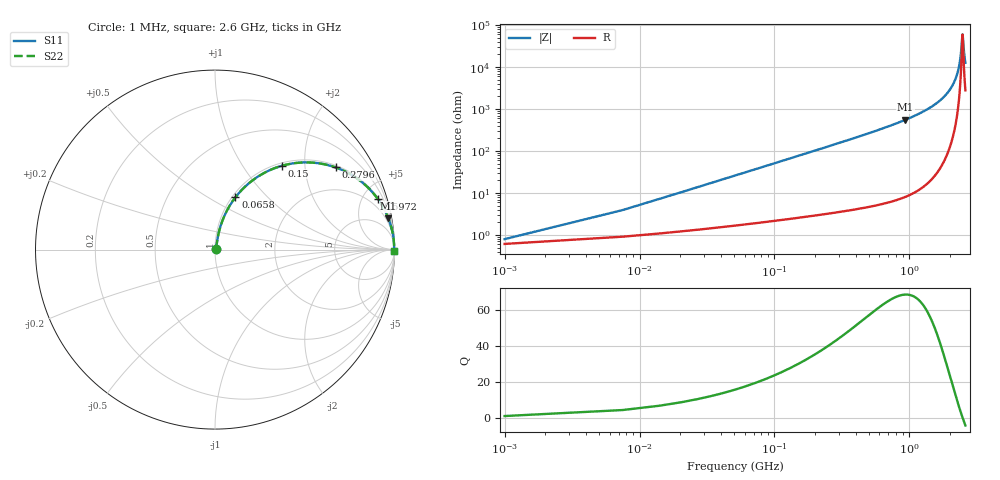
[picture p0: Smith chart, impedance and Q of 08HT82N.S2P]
! Coilcraft 0805HT-82N Chip Inductor
! 24 June 2002
# MHZ S MA R 50
!Freq  MagS11  AngS11  MagS21  AngS21  MagS12  AngS12  MagS22  AngS22
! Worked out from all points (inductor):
!   403 points, 1 MHz to 2.6 GHz, reference 50 ohm
!   read as one part in series: L = 81 nH near 13.96 MHz
!   highest Q = 68.6 at 934.1 MHz (marker M1), where L = 94.4 nH
!   self-resonance near 2.476 GHz
!   S11 on the Smith chart (normalised r, x): 1 MHz: 1.01, +0.01; 65.8 MHz: 1.04, +0.67; 150 MHz: 1.05, +1.53; 279.6 MHz: 1.07, +2.88; 597.2 MHz: 1.10, +6.45; 2.6 GHz: open
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1  0.007911 39.5  0.9939 -0.3  0.9939 -0.3  0.007911 39.5
20.44  0.1029 77.5  0.9828 -5.9  0.9828 -5.9  0.1029 77.5
26.92  0.1346 76.7  0.9779 -7.7  0.9779 -7.7  0.1346 76.7
46.36  0.2268 73.0  0.9586 -13.1  0.9586 -13.1  0.2268 73.0
65.8  0.3131 68.6  0.9328 -18.2  0.9328 -18.2  0.3131 68.6
150.04  0.5989 51.3  0.781 -36.8  0.781 -36.8  0.5989 51.3
279.64  0.8128 34.3  0.5637 -54.4  0.5637 -54.4  0.8128 34.3
435.16  0.9099 23.5  0.3981 -65.5  0.3981 -65.5  0.9099 23.5
597.16  0.9508 17.1  0.2946 -71.9  0.2946 -71.9  0.9508 17.1
869.32  0.9782 11.2  0.1938 -78.0  0.1938 -78.0  0.9782 11.2
934.12  0.9816 10.2  0.1771 -79.0  0.1771 -79.0  0.9816 10.2
1303.48  0.9924 6.2  0.1081 -82.9  0.1081 -82.9  0.9924 6.2
1737.64  0.9969 3.3  0.05723 -85.2  0.05723 -85.2  0.9969 3.3
2171.8  0.9983 1.2  0.0209 -84.6  0.0209 -84.6  0.9983 1.2
2275.48  0.9983 0.8  0.01351 -82.6  0.01351 -82.6  0.9983 0.8
2353.24  0.9984 0.5  0.008243 -78.3  0.008243 -78.3  0.9984 0.5
2405.08  0.9984 0.3  0.004909 -70.4  0.004909 -70.4  0.9984 0.3
2463.4  0.9983 0.0  0.00186 -26.7  0.00186 -26.7  0.9983 0.0
2476.36  0.9983 0.0  0.001669 -0.2  0.001669 -0.2  0.9983 0.0
2489.32  0.9983 -0.0  0.001868 26.1  0.001868 26.1  0.9983 -0.0
2547.64  0.9983 -0.3  0.004806 68.9  0.004806 68.9  0.9983 -0.3
2600  0.9982 -0.4  0.007909 76.8  0.007909 76.8  0.9982 -0.4
